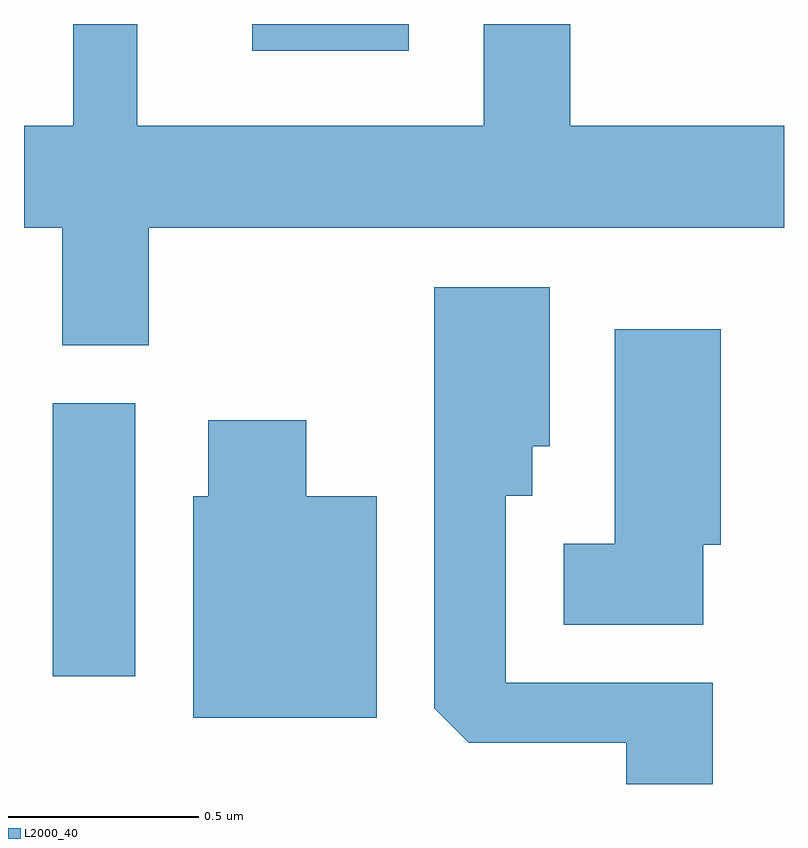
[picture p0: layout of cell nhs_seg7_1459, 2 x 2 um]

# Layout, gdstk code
import gdstk
lib = gdstk.Library(unit=1e-6, precision=1e-09)
def R(c, l, rs):  # rectangles x0, y0, x1, y1
    for r in rs: c.add(gdstk.rectangle(r[:2], r[2:], *l))
def P(c, l, *ps):  # polygons
    for p in ps: c.add(gdstk.Polygon(p, *l))
L2000_40 = (2000, 40)

nhs_seg7_1459 = lib.new_cell('nhs_seg7_1459')
R(nhs_seg7_1459, L2000_40, [(195.686,1757.536,195.904,1758.254), (196.211,1759.181,196.624,1759.252)])
P(nhs_seg7_1459, L2000_40, [(195.939,1758.716),(197.611,1758.716),(197.611,1758.984),(197.049,1758.984),(197.049,1759.252),(196.821,1759.252),(196.821,1758.984),(195.909,1758.984),(195.909,1759.252),(195.741,1759.252),(195.741,1758.984),(195.611,1758.984),(195.611,1758.716),(195.711,1758.716),(195.711,1758.406),(195.939,1758.406)],
  [(197.424,1757.519),(196.879,1757.519),(196.879,1758.011),(196.949,1758.011),(196.949,1758.141),(196.994,1758.141),(196.994,1758.559),(196.691,1758.559),(196.691,1757.452),(196.782,1757.361),(197.196,1757.361),(197.196,1757.252),(197.424,1757.252)],
  [(197.399,1757.881),(197.444,1757.881),(197.444,1758.449),(197.166,1758.449),(197.166,1757.884),(197.031,1757.884),(197.031,1757.671),(197.399,1757.671)],
  [(196.539,1758.009),(196.354,1758.009),(196.354,1758.209),(196.096,1758.209),(196.096,1758.009),(196.056,1758.009),(196.056,1757.426),(196.539,1757.426)])

lib.write_gds('nhs_seg7_1459.gds')
